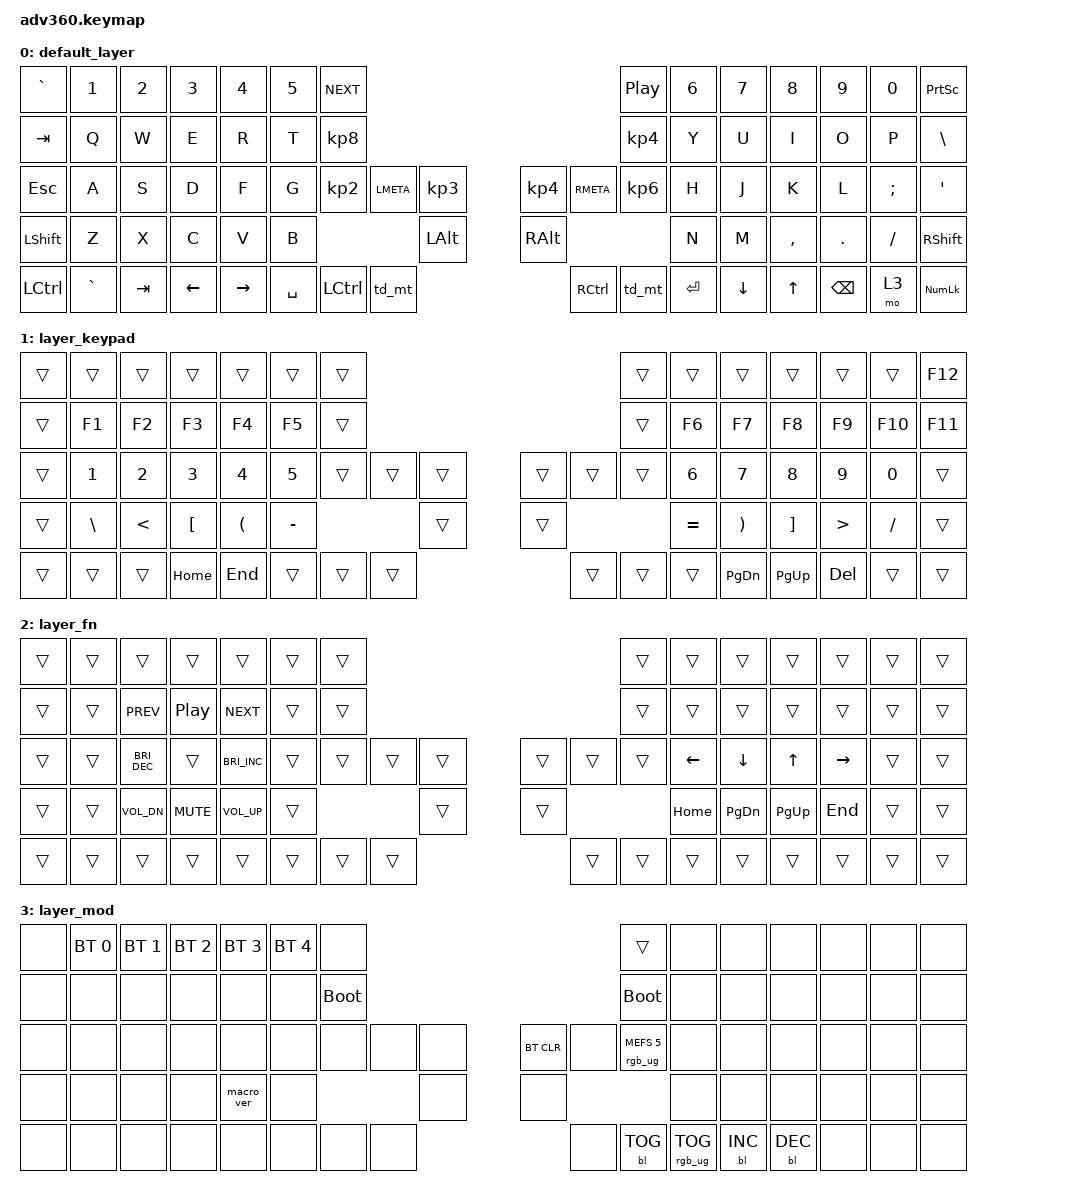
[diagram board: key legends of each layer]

/*
 * Copyright (c) 2020 The ZMK Contributors
 *
 * SPDX-License-Identifier: MIT
 */


/* THIS FILE WAS GENERATED!
 *
 * This file was generated automatically. You may or may not want to
 * edit it directly.
 */

#include <behaviors.dtsi>
#include <dt-bindings/zmk/keys.h>
#include <dt-bindings/zmk/bt.h>
#include <dt-bindings/zmk/rgb.h>
#include <dt-bindings/zmk/backlight.h>

/ {
  behaviors {
    #include "macros.dtsi"
    #include "tap-dances.dtsi"
    #include "version.dtsi"

    hm: homerow_mods {
        compatible = "zmk,behavior-hold-tap";
        label = "HOMEROW_MODS";
        #binding-cells = <2>;
        tapping-term-ms = <200>;
        quick_tap_ms = <175>;
        flavor = "tap-preferred";
        bindings = <&kp>, <&kp>;
    };
  };

    keymap {
        compatible = "zmk,keymap";


        default_layer {
            bindings = <
 &kp GRAVE  &kp N1    &kp N2   &kp N3    &kp N4  &kp N5            &kp C_NEXT                                                         &kp C_PP   &kp N6   &kp N7     &kp N8     &kp N9         &kp N0     &kp PRINTSCREEN
 &kp TAB    &kp Q     &kp W    &kp E     &kp R   &kp T             &kp KP_N8                                                          &kp KP_N4  &kp Y    &kp U      &kp I      &kp O          &kp P      &kp BSLH
 &kp ESC    &kp A     &kp S    &kp D     &kp F   &kp G             &kp KP_N2   &kp LMETA &kp KP_N3              &kp KP_N4  &kp RMETA  &kp KP_N6  &kp H    &kp J      &kp K      &kp L          &kp SEMI   &kp SQT
 &kp LSHFT  &kp Z     &kp X    &kp C     &kp V   &kp B                                   &kp LALT               &kp RALT                         &kp N    &kp M      &kp COMMA  &kp DOT        &kp FSLH   &kp RSHFT
 &kp LCTRL  &kp GRAVE &kp TAB  &kp LEFT  &kp RIGHT                 &kp SPACE  &kp LCTRL  &td_mt                 &kp RCTRL  &td_mt     &kp ENTER           &kp DOWN   &kp UP     &kp BACKSPACE  &mo 3      &kp KP_NUM
            >;
        };

        layer_keypad {
            bindings = <
 &trans  &trans    &trans   &trans    &trans     &trans            &trans                                                  &trans     &trans     &trans    &trans     &trans      &trans   &kp F12
 &trans  &kp F1    &kp F2   &kp F3    &kp F4     &kp F5            &trans                                                  &trans     &kp F6     &kp F7    &kp F8     &kp F9      &kp F10  &kp F11
 &trans  &kp N1    &kp N2   &kp N3    &kp N4     &kp N5            &trans  &trans  &trans                  &trans  &trans  &trans     &kp N6     &kp N7    &kp N8     &kp N9      &kp N0   &trans
 &trans  &kp BSLH  &kp LT   &kp LBKT  &kp LPAR  &kp MINUS                          &trans                  &trans                     &kp EQUAL  &kp RPAR  &kp RBKT   &kp GT      &kp FSLH &trans
 &trans  &trans    &trans   &kp HOME  &kp END                      &trans  &trans  &trans                  &trans  &trans  &trans                &kp PG_DN &kp PG_UP  &kp DELETE  &trans   &trans
            >;
        };

        layer_fn {
            bindings = <
 &trans  &trans  &trans        &trans      &trans         &trans            &trans                                                  &trans  &trans   &trans    &trans    &trans    &trans  &trans
 &trans  &trans  &kp C_PREV    &kp C_PP    &kp C_NEXT     &trans            &trans                                                  &trans  &trans   &trans    &trans    &trans    &trans  &trans
 &trans  &trans  &kp C_BRI_DEC &trans      &kp C_BRI_INC  &trans            &trans  &trans  &trans                  &trans  &trans  &trans  &kp LEFT &kp DOWN  &kp UP    &kp RIGHT &trans  &trans
 &trans  &trans  &kp C_VOL_DN  &kp C_MUTE  &kp C_VOL_UP   &trans                            &trans                  &trans                  &kp HOME &kp PG_DN &kp PG_UP &kp END   &trans  &trans
 &trans  &trans  &trans        &trans      &trans                           &trans  &trans  &trans                  &trans  &trans  &trans           &trans    &trans    &trans    &trans  &trans
            >;
        };

        layer_mod {
            bindings = <
  &none  &bt BT_SEL 0  &bt BT_SEL 1  &bt BT_SEL 2  &bt BT_SEL 3  &bt BT_SEL 4                  &none                                                                          &trans   &none       &none       &none   &none   &none   &none
  &none         &none         &none         &none         &none         &none            &bootloader                                                                     &bootloader   &none       &none       &none   &none   &none   &none
  &none         &none         &none         &none         &none         &none                  &none   &none   &none                  &bt BT_CLR       &none  &rgb_ug RGB_MEFS_CMD 5   &none       &none       &none   &none   &none   &none
  &none         &none         &none         &none    &macro_ver         &none                                  &none                       &none                                       &none       &none       &none   &none   &none   &none
  &none         &none         &none         &none         &none                                &none   &none   &none                       &none  &bl BL_TOG         &rgb_ug RGB_TOG          &bl BL_INC  &bl BL_DEC   &none   &none   &none
            >;
        };

    };
};
